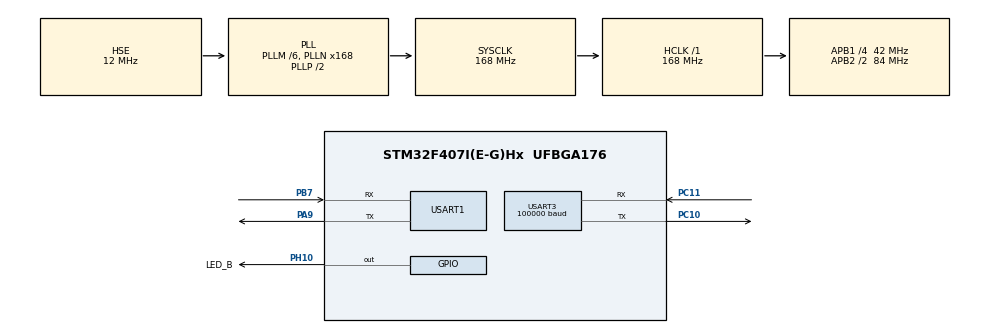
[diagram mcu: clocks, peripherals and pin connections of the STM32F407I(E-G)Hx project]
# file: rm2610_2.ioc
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Dma.Request0=USART1_RX
Dma.Request1=USART3_RX
Dma.USART1_RX.0.Direction=DMA_PERIPH_TO_MEMORY
Dma.USART1_RX.0.FIFOMode=DMA_FIFOMODE_DISABLE
Dma.USART1_RX.0.Instance=DMA2_Stream2
Dma.USART1_RX.0.MemDataAlignment=DMA_MDATAALIGN_BYTE
Dma.USART1_RX.0.MemInc=DMA_MINC_ENABLE
Dma.USART1_RX.0.Mode=DMA_NORMAL
Dma.USART1_RX.0.PeriphDataAlignment=DMA_PDATAALIGN_BYTE
Dma.USART1_RX.0.PeriphInc=DMA_PINC_DISABLE
Dma.USART1_RX.0.Priority=DMA_PRIORITY_LOW
Dma.USART3_RX.1.Direction=DMA_PERIPH_TO_MEMORY
Dma.USART3_RX.1.FIFOMode=DMA_FIFOMODE_DISABLE
Dma.USART3_RX.1.Instance=DMA1_Stream1
Dma.USART3_RX.1.MemDataAlignment=DMA_MDATAALIGN_BYTE
Dma.USART3_RX.1.MemInc=DMA_MINC_ENABLE
Dma.USART3_RX.1.Mode=DMA_NORMAL
Dma.USART3_RX.1.PeriphDataAlignment=DMA_PDATAALIGN_BYTE
Dma.USART3_RX.1.PeriphInc=DMA_PINC_DISABLE
Dma.USART3_RX.1.Priority=DMA_PRIORITY_LOW
Mcu.Family=STM32F4
Mcu.Name=STM32F407I(E-G)Hx
Mcu.Package=UFBGA176
NVIC.DMA1_Stream1_IRQn=true\:0\:0\:false\:false\:true\:false\:true\:true
NVIC.DMA2_Stream2_IRQn=true\:0\:0\:false\:false\:true\:false\:true\:true
NVIC.PriorityGroup=NVIC_PRIORITYGROUP_4
NVIC.USART1_IRQn=true\:3\:0\:true\:false\:true\:true\:true\:true
NVIC.USART3_IRQn=true\:0\:0\:false\:false\:true\:true\:true\:true
PA13.Mode=Serial_Wire
PA13.Signal=SYS_JTMS-SWDIO
PA14.Mode=Serial_Wire
PA14.Signal=SYS_JTCK-SWCLK
PA9.Mode=Asynchronous
PA9.Signal=USART1_TX
PB7.Mode=Asynchronous
PB7.Signal=USART1_RX
PC10.Mode=Asynchronous
PC10.Signal=USART3_TX
PC11.Mode=Asynchronous
PC11.Signal=USART3_RX
PH0-OSC_IN.Mode=HSE-External-Oscillator
PH0-OSC_IN.Signal=RCC_OSC_IN
PH1-OSC_OUT.Mode=HSE-External-Oscillator
PH1-OSC_OUT.Signal=RCC_OSC_OUT
PH10.GPIO_Label=LED_B
PH10.GPIO_PuPd=GPIO_PULLDOWN
PH10.Signal=GPIO_Output
ProjectManager.HeapSize=0x200
ProjectManager.StackSize=0x400
ProjectManager.TargetToolchain=MDK-ARM V5.32
RCC.48MHZClocksFreq_Value=84000000
RCC.AHBFreq_Value=168000000
RCC.APB1CLKDivider=RCC_HCLK_DIV4
RCC.APB1Freq_Value=42000000
RCC.APB1TimFreq_Value=84000000
RCC.APB2CLKDivider=RCC_HCLK_DIV2
RCC.APB2Freq_Value=84000000
RCC.APB2TimFreq_Value=168000000
RCC.CortexFreq_Value=168000000
RCC.HCLKFreq_Value=168000000
RCC.HSE_VALUE=12000000
RCC.HSI_VALUE=16000000
RCC.LSE_VALUE=32768
RCC.PLLM=6
RCC.PLLN=168
RCC.PLLSourceVirtual=RCC_PLLSOURCE_HSE
RCC.SYSCLKFreq_VALUE=168000000
RCC.SYSCLKSource=RCC_SYSCLKSOURCE_PLLCLK
RCC.VCOOutputFreq_Value=336000000
USART1.Parity=PARITY_EVEN
USART1.VirtualMode=VM_ASYNC
USART1.WordLength=WORDLENGTH_9B
USART3.BaudRate=100000
USART3.Parity=PARITY_EVEN
USART3.StopBits=STOPBITS_1
USART3.VirtualMode=VM_ASYNC
USART3.WordLength=WORDLENGTH_9B
board=custom

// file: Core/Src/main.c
/* USER CODE BEGIN Header */
/**
  ******************************************************************************
  * @file           : main.c
  * @brief          : Main program body
  ******************************************************************************
  * @attention
  *
  * Copyright (c) 2026 STMicroelectronics.
  * All rights reserved.
  *
  * This software is licensed under terms that can be found in the LICENSE file
  * in the root directory of this software component.
  * If no LICENSE file comes with this software, it is provided AS-IS.
  *
  ******************************************************************************
  */
/* USER CODE END Header */
#include "main.h"
#include "dma.h"
#include "usart.h"
#include "gpio.h"

/* USER CODE BEGIN Includes */

#include "callback.h"

/* USER CODE END Includes */

/* USER CODE BEGIN PV */

uint8_t rx_msg[10];

/* USER CODE END PV */

void SystemClock_Config(void);

int main(void)
{

  /* MCU Configuration--------------------------------------------------------*/

  /* Reset of all peripherals, Initializes the Flash interface and the Systick. */
  HAL_Init();

  /* Configure the system clock */
  SystemClock_Config();

  /* Initialize all configured peripherals */
  MX_GPIO_Init();
  MX_DMA_Init();
  MX_USART1_UART_Init();
  MX_USART3_UART_Init();
  /* USER CODE BEGIN 2 */

  HAL_UART_Init(&huart1);
  // HAL_UART_Receive_DMA(&huart1, rx_msg, 10);
  HAL_UARTEx_ReceiveToIdle_DMA(&huart1, rx_msg, 10);

  uint8_t tx_msg[] = "HelloRobomaster!";

  HAL_UART_Init(&huart3);

  robotInit();

  /* USER CODE END 2 */

  /* Infinite loop */
  /* USER CODE BEGIN WHILE */
  HAL_UART_Transmit(&huart1, tx_msg, sizeof(tx_msg)-1, 500);
  HAL_GPIO_TogglePin(LED_B_GPIO_Port, LED_B_Pin);
  HAL_Delay(500);
  HAL_GPIO_TogglePin(LED_B_GPIO_Port, LED_B_Pin);
  HAL_Delay(500);
  HAL_GPIO_TogglePin(LED_B_GPIO_Port, LED_B_Pin);
  HAL_Delay(500);
  HAL_GPIO_TogglePin(LED_B_GPIO_Port, LED_B_Pin);

  while (1)
  {
    // HAL_UART_Transmit(&huart1, tx_msg, sizeof(tx_msg), 1000);
    HAL_Delay(2500);
    /* USER CODE END WHILE */

  }
}

void SystemClock_Config(void)
{
  RCC_OscInitTypeDef RCC_OscInitStruct = {0};
  RCC_ClkInitTypeDef RCC_ClkInitStruct = {0};

  /** Configure the main internal regulator output voltage
  */
  __HAL_RCC_PWR_CLK_ENABLE();
  __HAL_PWR_VOLTAGESCALING_CONFIG(PWR_REGULATOR_VOLTAGE_SCALE1);

  /** Initializes the RCC Oscillators according to the specified parameters
  * in the RCC_OscInitTypeDef structure.
  */
  RCC_OscInitStruct.OscillatorType = RCC_OSCILLATORTYPE_HSE;
  RCC_OscInitStruct.HSEState = RCC_HSE_ON;
  RCC_OscInitStruct.PLL.PLLState = RCC_PLL_ON;
  RCC_OscInitStruct.PLL.PLLSource = RCC_PLLSOURCE_HSE;
  RCC_OscInitStruct.PLL.PLLM = 6;
  RCC_OscInitStruct.PLL.PLLN = 168;
  RCC_OscInitStruct.PLL.PLLP = RCC_PLLP_DIV2;
  RCC_OscInitStruct.PLL.PLLQ = 4;
  if (HAL_RCC_OscConfig(&RCC_OscInitStruct) != HAL_OK)
  {
    Error_Handler();
  }

  /** Initializes the CPU, AHB and APB buses clocks
  */
  RCC_ClkInitStruct.ClockType = RCC_CLOCKTYPE_HCLK|RCC_CLOCKTYPE_SYSCLK
                              |RCC_CLOCKTYPE_PCLK1|RCC_CLOCKTYPE_PCLK2;
  RCC_ClkInitStruct.SYSCLKSource = RCC_SYSCLKSOURCE_PLLCLK;
  RCC_ClkInitStruct.AHBCLKDivider = RCC_SYSCLK_DIV1;
  RCC_ClkInitStruct.APB1CLKDivider = RCC_HCLK_DIV4;
  RCC_ClkInitStruct.APB2CLKDivider = RCC_HCLK_DIV2;

  if (HAL_RCC_ClockConfig(&RCC_ClkInitStruct, FLASH_LATENCY_5) != HAL_OK)
  {
    Error_Handler();
  }
}

void Error_Handler(void)
{
  __disable_irq();
  while (1)
  {
  }
}
